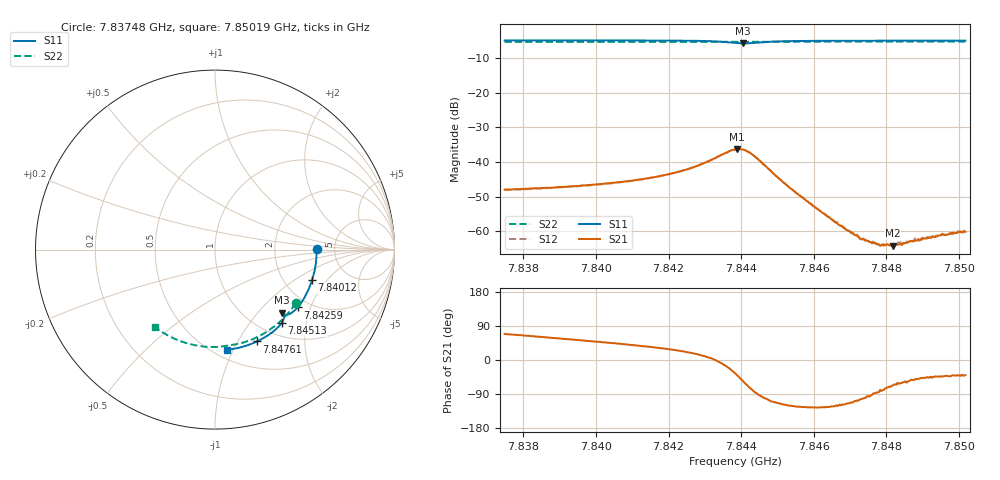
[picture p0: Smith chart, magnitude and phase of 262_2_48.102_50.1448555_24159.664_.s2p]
#  HZ  S  RI  R  50.00
! Rohde & Schwarz Vector Network Analyzer
! Rohde-Schwarz,ZNB20-2Port,1311601062101988,3.16
! Created: UTC 12/23/2023, 4:00:52 AM
! freq[Hz]  re:S11  im:S11  re:S21  im:S21  re:S12  im:S12  re:S22  im:S22
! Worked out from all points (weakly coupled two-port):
!   401 points, 7.83748 GHz to 7.85019 GHz, reference 50 ohm
!   highest |S21| = -36.21 dB at 7.8439 GHz (marker M1); lowest = -64.1 dB at 7.84818 GHz (marker M2)
!   lowest |S11| = -5.8 dB at 7.84406 GHz (marker M3), VSWR 3.11, Z = 71.5 - j68.3 ohm
!   |S11| at or under -10 dB: nowhere
!   |S22| runs from -5.4 to -5.3 dB; largest |S21 - S12| = 0.00023
!   S11 on the Smith chart (normalised r, x): 7.83748 GHz: 3.61, +0.04; 7.84012 GHz: 2.83, -1.42; 7.84259 GHz: 1.73, -1.63; 7.84513 GHz: 1.24, -1.45; 7.84761 GHz: 0.81, -1.21; 7.85019 GHz: 0.58, -0.95
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7.83748e9  0.5664 0.00397  0.00146 0.00373  0.00147 0.00366  0.4498 -0.2985
7.839608e9  0.5503 -0.1366  0.00285 0.00362  0.0028 0.00355  0.3519 -0.4103
7.840116e9  0.5409 -0.1695  0.00325 0.00355  0.00318 0.00353  0.3242 -0.433
7.841736e9  0.4962 -0.2713  0.00532 0.0033  0.0053 0.00332  0.2269 -0.4914
7.842594e9  0.4601 -0.3223  0.00766 0.00266  0.00763 0.00268  0.1706 -0.5137
7.843356e9  0.4128 -0.3596  0.0119 -0.000748  0.012 -0.000634  0.1188 -0.5273
7.843833e9  0.378 -0.3593  0.0124 -0.00861  0.0125 -0.00867  0.0867 -0.5321
7.843896e9  0.3757 -0.357  0.0117 -0.0101  0.0116 -0.00996  0.0826 -0.5326
7.844055e9  0.3745 -0.3516  0.0085 -0.0125  0.00852 -0.0125  0.0729 -0.5341
7.844246e9  0.3802 -0.3513  0.00378 -0.0131  0.00389 -0.0131  0.0607 -0.5362
7.844404e9  0.385 -0.3579  0.000742 -0.0117  0.000687 -0.0118  0.0505 -0.5381
7.845135e9  0.3717 -0.4078  -0.00237 -0.00472  -0.00237 -0.00475  -0.000653 -0.5428
7.845961e9  0.3306 -0.4515  -0.00137 -0.00196  -0.00136 -0.002  -0.059 -0.5403
7.84666e9  0.2913 -0.4804  -0.000676 -0.00111  -0.00071 -0.00116  -0.1077 -0.5334
7.847231e9  0.2575 -0.5001  -0.000252 -0.0008  -0.000238 -0.000819  -0.1467 -0.5243
7.847485e9  0.2422 -0.5079  -6.19e-05 -0.000727  -0.00011 -0.00071  -0.164 -0.5195
7.847612e9  0.2344 -0.5117  -2.58e-05 -0.000671  -5.72e-06 -0.000718  -0.1725 -0.5167
7.847771e9  0.2246 -0.5161  4.85e-05 -0.000642  5.69e-05 -0.000663  -0.183 -0.5132
7.848089e9  0.2049 -0.5242  0.000219 -0.000606  0.000203 -0.000594  -0.204 -0.5055
7.848184e9  0.1988 -0.5266  0.000239 -0.000573  0.000258 -0.000576  -0.2101 -0.5029
7.849518e9  0.1132 -0.5511  0.000644 -0.0006  0.00063 -0.000609  -0.2934 -0.4602
7.850185e9  0.0696 -0.5583  0.000758 -0.00063  0.000756 -0.000709  -0.3317 -0.4339
